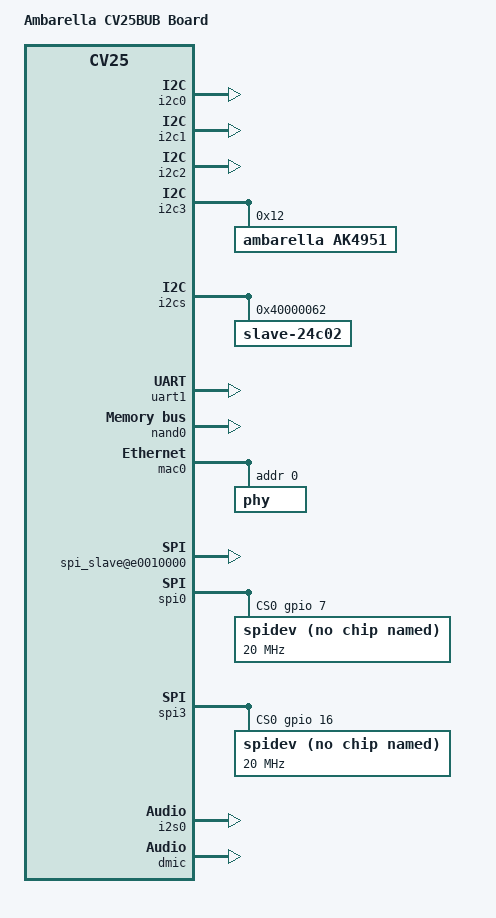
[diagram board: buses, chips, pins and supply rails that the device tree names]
/*
 * board level device tree source
 */

/dts-v1/;

/include/ "cv25.dtsi"

/ {
	model = "Ambarella CV25BUB Board";
	compatible = "ambarella,cv25bub", "ambarella,cv25";

	chosen {
		stdout-path = &uart0;
		#address-cells = <1>;
		#size-cells = <1>;
		xen,xen-bootargs = "dom0_mem=256M bootscrub=0 dom0_max_vcpus=1 dom0_vcpus_pin timer_slop=0";
		module@0 {
			 compatible = "xen,linux-zimage", "xen,multiboot-module";
			 reg = <0x0 0x0>;
			 bootargs = "root=/dev/mtdblock21 rootfstype=squashfs rdinit=/sbin/init console=hvc0 earlycon=xenboot quiet";
		};

		domu_tx {
			#address-cells = <1>;
			#size-cells = <1>;
			compatible = "xen,domain";
			memory = <0x0 0x0>;
			cpus = <1>;

			module@0 {
				compatible = "multiboot,kernel", "multiboot,module";
				reg = <0x0 0x0>;
			};
		};

	};

	n_apb@e4000000 {
		i2c0: i2c@e4008000 {
			status = "ok";
		};

		i2c1: i2c@e4009000 {
			status = "ok";
			pinctrl-0 = <&i2c1_pins_b>;
		};

		i2c2: i2c@e400a000 {
			status = "ok";
		};

		i2c3: i2c@e400b000 {
			status = "ok";
			ak4951: codec@12 {
				compatible = "ambarella,ak4951";
				#sound-dai-cells = <0>;
				reg = <0x12>;
			};
		};

		i2cs: i2cs@e4007000 {
			/delete-property/pinctrl-0;
			status = "ok";
			slave-24c02@62{
				compatible = "slave-24c02";
				reg = <0x40000062>;
			};
		};
	};

	n_ahb@e0000000 {
		uart1: uart@e0017000 {
			/delete-property/amb,txdma-used;
			/delete-property/amb,rxdma-used;
			/delete-property/dmas;
			/delete-property/dma-names;
			status = "ok";
		};

		nand0: nand@e0002000 {
			status = "ok";
		};

		sdmmc0: sdmmc0@e0004000 {
			pwr-gpios = <&gpio 81 0x1>;
			v18-gpios = <&gpio 105 0x1>;
			/*amb,fixed-cd = <1>;*/
		};

		sdmmc2: sdmmc2@e0016000 { /* SDIO1 */
			/delete-property/pinctrl-0;
		};

		mac0: ethernet@e000e000 {
			amb,tx-clk-invert;
			phy@0 {
				reg = <0>;
			};
		};
		spi_slave@e0010000 {
			status = "ok";
			/* GPIO16 is shared between SPI3 (LCD) chip-selcet & SPI Slave SSI EN */
			/delete-property/pinctrl-0;
		};
		spi0: spi@e0011000 {
			status = "ok";
			cs-gpios = <&gpio 7 0>;

			spidev@0 {
					compatible = "ambarella,spidev";
					spi-max-frequency = <20000000>;
					reg = <0>;
					/*spi-cpha;*/
					/*spi-cpol;*/
			};
		};
		spi3: spi@e0014000 {
				status = "ok";
				cs-gpios = <&gpio 16 0>;

				spidev@0 {
						compatible = "ambarella,spidev";
						spi-max-frequency = <20000000>;
						reg = <0>;
						/*spi-cpha;*/
						/*spi-cpol;*/
				};
		};
		i2s0: i2s@e001d000 {
			status = "ok";
		};
		dmic: dmic@e0015000 {
			status = "ok";
		};
	};

	rct@ed080000 {
		usbphy: usbphy@ed080050 {
			/* high will trigger the ocp interrupt */
			amb,ocp-polarity = <0>;
			pinctrl-names = "default";
			pinctrl-0 = <&usb_host0_pins_d>;
		};
	};

	sound {
		compatible = "ambarella,audio-board";
		simple-audio-card,name = "ak4951 @ AMBEVK";
		simple-audio-card,mclk-fs = <256>;
		simple-audio-card,widgets =
		"Speaker", "Speaker",
		"Headphone", "HP Jack",
		"Line", "Line In",
		"Line", "Line Out",
		"Microphone", "Mic Internal",
		"Microphone", "Mic External";
		simple-audio-card,routing =
		"LIN2", "Mic Bias",
		"RIN2", "Mic Bias",
		"Mic Bias", "Mic Internal",
		"LIN3", "Line In",
		"RIN3", "Line In",
		"Line Out", "SPKLO",
		"HP Jack", "HPL",
		"HP Jack", "HPR",
		"Speaker", "SPKLO";

		simple-audio-card,dai-link@0 {
			format = "i2s";

			cpu {
				sound-dai = <&i2s0>;
			};

			codec {
				sound-dai = <&ak4951>;
			};
		};

		simple-audio-card,dai-link@1 {
			format = "i2s";

			cpu {
				sound-dai = <&i2s0>;
			};

			codec {
				sound-dai = <&dmic>;
			};
		};

	};
};
